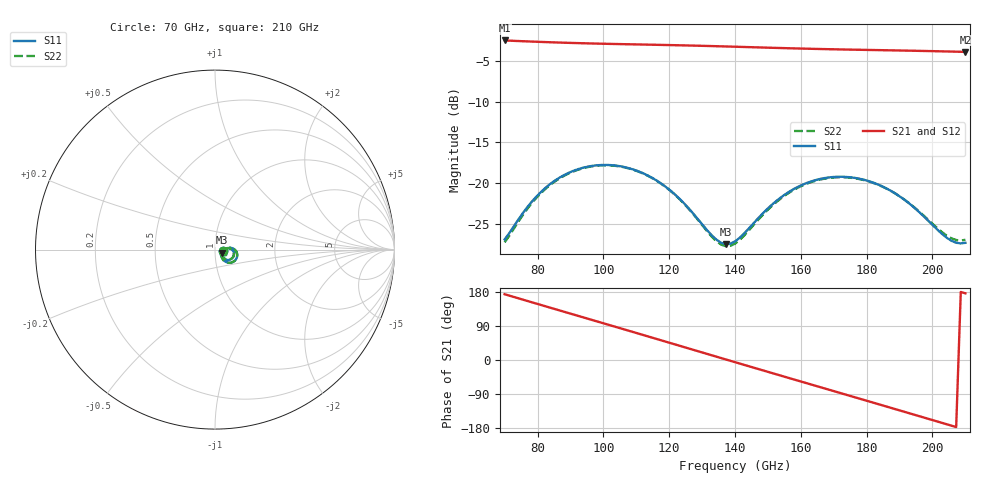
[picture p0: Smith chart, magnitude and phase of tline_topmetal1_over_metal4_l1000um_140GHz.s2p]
#  GHZ S DB R 50
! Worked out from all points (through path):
!   101 points, 70 GHz to 210 GHz, reference 50 ohm
!   highest |S21| = -2.54 dB at 70 GHz (marker M1); lowest = -3.9 dB at 210 GHz (marker M2)
!   group delay of S21, straight-line fit = 7.1 ps
!   lowest |S11| = -27.4 dB at 137.2 GHz (marker M3), VSWR 1.09, Z = 54 - j1.81 ohm
!   |S11| at or under -10 dB: start of sweep to end of sweep
!   |S22| runs from -27.7 to -17.8 dB; largest |S21 - S12| = 7.4e-14
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70  -26.84 -8.9  -2.54 173.6  -2.54 173.6  -27.19 -9.4
75.6  -23.60 6.3  -2.64 159.2  -2.64 159.2  -23.82 6.7
81.2  -20.98 6.2  -2.72 144.8  -2.72 144.8  -21.12 6.6
88.2  -18.96 -1.4  -2.82 127.0  -2.82 127.0  -19.04 -1.1
93.8  -18.09 -9.7  -2.88 112.7  -2.88 112.7  -18.15 -9.5
99.4  -17.75 -18.7  -2.94 98.5  -2.94 98.5  -17.80 -18.6
105  -17.90 -27.9  -2.99 84.2  -2.99 84.2  -17.93 -27.9
110.6  -18.52 -36.7  -3.03 69.8  -3.03 69.8  -18.55 -36.9
117.6  -20.02 -46.1  -3.09 51.9  -3.09 51.9  -20.05 -46.4
127.4  -23.73 -50.2  -3.17 26.7  -3.17 26.7  -23.79 -51.0
133  -26.37 -40.0  -3.23 12.3  -3.23 12.3  -26.53 -41.1
137.2  -27.41 -23.1  -3.28 1.5  -3.28 1.5  -27.67 -23.7
140  -27.08 -10.9  -3.31 -5.7  -3.31 -5.7  -27.36 -11.0
151.2  -22.61 5.9  -3.44 -34.3  -3.44 -34.3  -22.76 6.7
158.2  -20.62 0.5  -3.51 -52.1  -3.51 -52.1  -20.72 1.3
163.8  -19.68 -6.6  -3.57 -66.3  -3.57 -66.3  -19.75 -5.9
175  -19.25 -23.2  -3.66 -94.8  -3.66 -94.8  -19.30 -22.4
180.6  -19.72 -31.4  -3.70 -109.0  -3.70 -109.0  -19.76 -30.4
187.6  -20.96 -40.0  -3.75 -126.8  -3.75 -126.8  -20.98 -38.8
198.8  -24.59 -43.4  -3.84 -155.5  -3.84 -155.5  -24.48 -41.7
205.8  -27.02 -29.3  -3.90 -173.3  -3.90 -173.3  -26.72 -27.9
210  -27.26 -14.7  -3.94 175.9  -3.94 175.9  -26.89 -14.3
